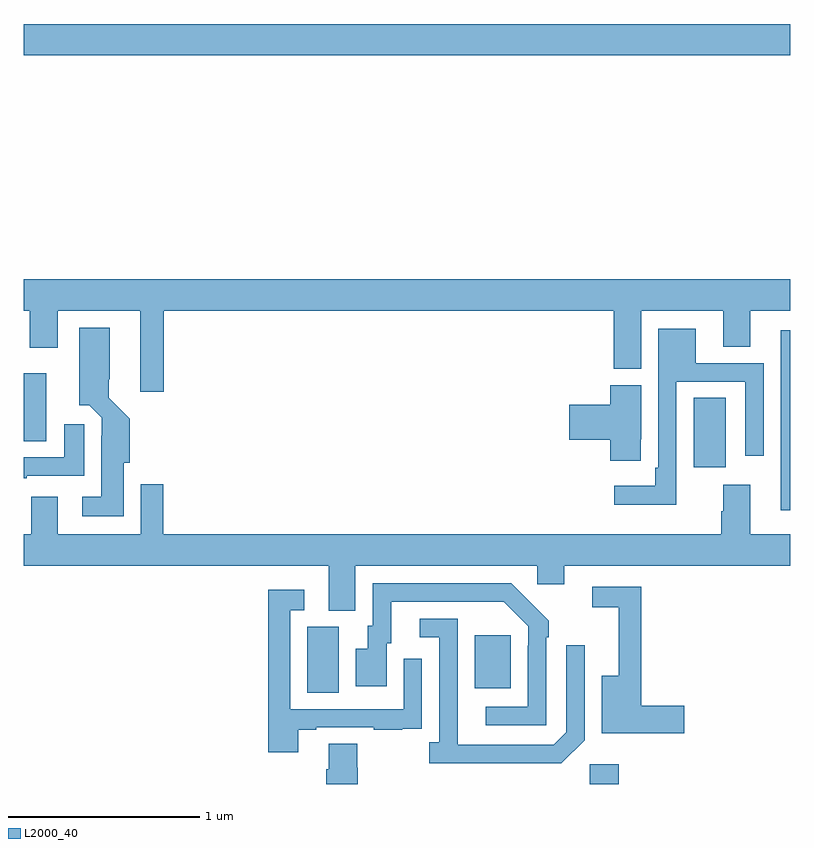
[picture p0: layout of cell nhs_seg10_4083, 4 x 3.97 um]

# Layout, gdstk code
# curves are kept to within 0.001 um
import gdstk
lib = gdstk.Library(unit=1e-6, precision=1e-09)
def R(c, l, rs):  # rectangles x0, y0, x1, y1
    for r in rs: c.add(gdstk.rectangle(r[:2], r[2:], *l))
def P(c, l, *ps):  # polygons
    for p in ps: c.add(gdstk.Polygon(p, *l))
L2000_40 = (2000, 40)

nhs_seg10_4083 = lib.new_cell('nhs_seg10_4083')
R(nhs_seg10_4083, L2000_40, [(339.954,1308.5,340.106,1308.604), (338.48,1308.976,338.644,1309.32), (339.353,1309.001,339.541,1309.276), (340.952,1309.929,341,1310.869), (340.496,1310.154,340.663,1310.516), (337,1310.29,337.117,1310.644), (337,1312.304,341,1312.468)])
P(nhs_seg10_4083, L2000_40, [(337.73,1310.972),(340.079,1310.972),(340.079,1310.668),(340.222,1310.668),(340.222,1310.972),(340.652,1310.972),(340.652,1310.782),(340.792,1310.782),(340.792,1310.972),(341,1310.972),(341,1311.136),(337,1311.136),(337,1310.972),(337.03,1310.972),(337.03,1310.778),(337.177,1310.778),(337.177,1310.972),(337.607,1310.972),(337.607,1310.547),(337.73,1310.547)],
  [(337.522,1310.178),(337.553,1310.178),(337.553,1310.407),(337.443,1310.516),(337.443,1310.614),(337.447,1310.614),(337.447,1310.881),(337.289,1310.881),(337.289,1310.478),(337.341,1310.478),(337.407,1310.412),(337.407,1310.318),(337.403,1310.318),(337.403,1309.999),(337.305,1309.999),(337.305,1309.898),(337.522,1309.898)],
  [(340.407,1310.601),(340.767,1310.601),(340.767,1310.214),(340.863,1310.214),(340.863,1310.697),(340.507,1310.697),(340.507,1310.878),(340.311,1310.878),(340.311,1310.152),(340.295,1310.152),(340.295,1310.056),(340.083,1310.056),(340.083,1309.958),(340.407,1309.958)],
  [(340.221,1310.299),(340.222,1310.299),(340.222,1310.583),(340.061,1310.583),(340.061,1310.48),(339.846,1310.48),(339.846,1310.297),(340.061,1310.297),(340.061,1310.187),(340.221,1310.187)],
  [(337.015,1310.109),(337.315,1310.109),(337.315,1310.377),(337.211,1310.377),(337.211,1310.205),(337,1310.205),(337,1310.097),(337.015,1310.097)],
  [(338.731,1309.64),(339.681,1309.64),(339.681,1309.542),(339.82,1309.542),(339.82,1309.64),(341,1309.64),(341,1309.804),(340.792,1309.804),(340.792,1310.062),(340.652,1310.062),(340.652,1309.925),(340.64,1309.925),(340.64,1309.804),(337.727,1309.804),(337.727,1310.065),(337.611,1310.065),(337.611,1309.804),(337.177,1309.804),(337.177,1309.999),(337.037,1309.999),(337.037,1309.804),(337,1309.804),(337,1309.64),(338.591,1309.64),(338.591,1309.405),(338.731,1309.405)],
  [(339.726,1309.265),(339.741,1309.265),(339.741,1309.353),(339.544,1309.548),(338.82,1309.548),(338.82,1309.326),(338.795,1309.326),(338.795,1309.207),(338.732,1309.207),(338.732,1309.011),(338.893,1309.011),(338.893,1309.236),(338.917,1309.236),(338.917,1309.452),(339.505,1309.452),(339.633,1309.323),(339.633,1309.223),(339.63,1309.223),(339.63,1308.903),(339.411,1308.903),(339.411,1308.807),(339.726,1308.807)],
  [(340.447,1308.908),(340.223,1308.908),(340.223,1309.53),(339.966,1309.53),(339.966,1309.422),(340.106,1309.422),(340.106,1309.066),(340.016,1309.066),(340.016,1308.766),(340.447,1308.766)],
  [(338.431,1308.783),(338.527,1308.783),(338.527,1308.795),(338.827,1308.795),(338.827,1308.783),(338.975,1308.783),(338.975,1308.789),(339.077,1308.789),(339.077,1308.898),(339.078,1308.898),(339.078,1309.153),(338.982,1309.153),(338.982,1308.891),(338.391,1308.891),(338.391,1309.407),(338.464,1309.407),(338.464,1309.513),(338.275,1309.513),(338.275,1308.666),(338.431,1308.666)],
  [(339.927,1308.729),(339.927,1309.225),(339.831,1309.225),(339.831,1308.771),(339.765,1308.705),(339.265,1308.705),(339.264,1309.362),(339.066,1309.362),(339.066,1309.266),(339.168,1309.266),(339.168,1308.718),(339.117,1308.718),(339.117,1308.608),(339.806,1308.608)],
  [(338.744,1308.585),(338.739,1308.585),(338.739,1308.71),(338.591,1308.71),(338.591,1308.578),(338.579,1308.578),(338.579,1308.5),(338.744,1308.5)])

lib.write_gds('nhs_seg10_4083.gds')
